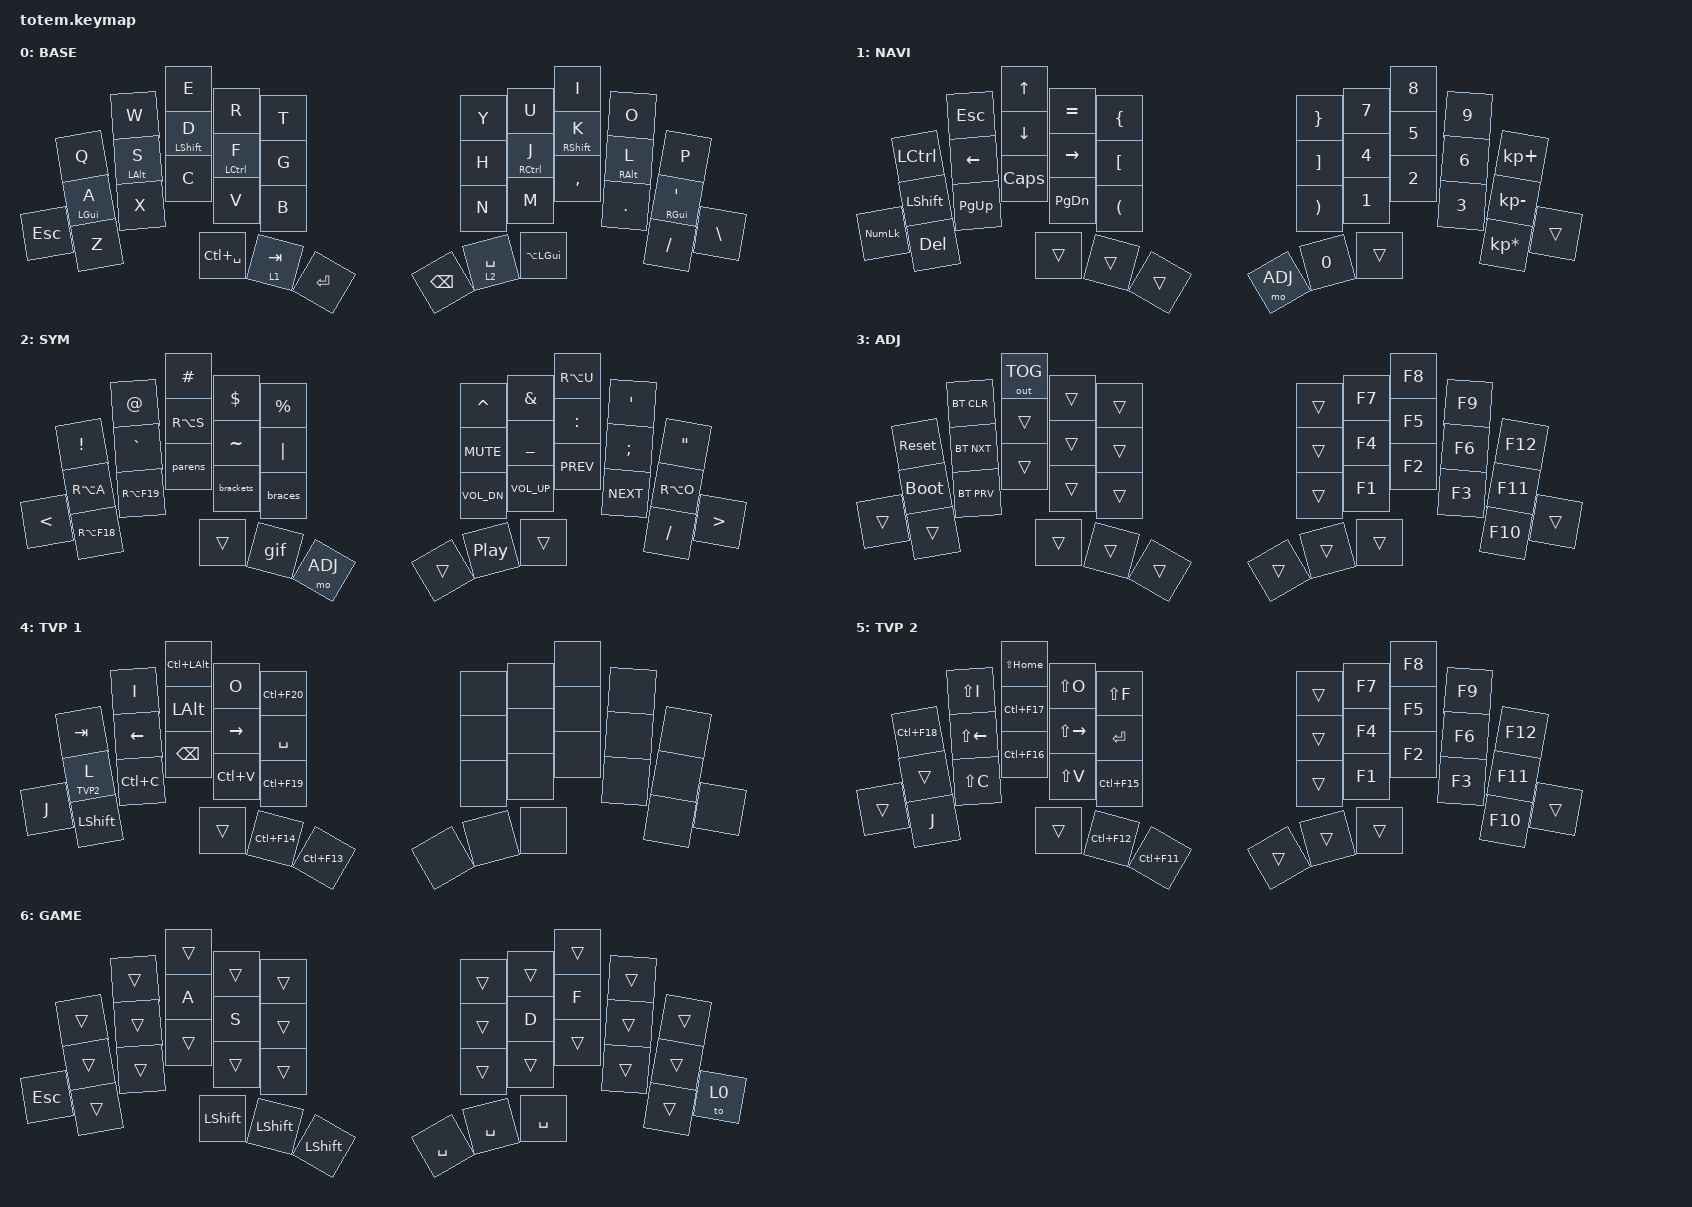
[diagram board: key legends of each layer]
//
//                                                        ▀▀▀▀▀     ▀▀▀▀▀          ▀▀█▀▀
//                                                        ▄▀▀▀▄  ▄  ▄▀▀▀▄  ▄  ▄▀▀▀▄  █  ▄▀▀▀▄
//                                                        █   █  █  █   █  █  █   █  █  █   █
//                                                         ▀▀▀   █   ▀▀▀   █   ▀▀▀   ▀   ▀▀▀
//                                                               █      ▄▄▄█▄▄▄    █   █  
//                                                               ▀      █  █  █     █▄█
//                                                             ▀▀▀▀▀    █  █  █      ▀
//                                                                      ▀  ▀  ▀
//
// ▄▄▄▄▄▄▄▄▄▄▄▄▄▄▄▄▄▄▄▄▄▄▄▄▄▄▄▄▄▄▄▄▄▄▄▄▄▄▄▄▄▄▄▄▄▄▄▄▄▄▄▄▄▄▄▄▄▄▄▄▄▄▄▄▄▄▄▄▄▄▄▄▄▄▄▄▄▄▄▄▄▄▄▄▄▄▄▄▄▄▄▄▄▄▄▄▄▄▄▄▄▄▄▄▄▄▄▄▄▄▄▄▄▄▄▄▄▄▄▄▄▄▄▄▄▄▄▄▄▄▄▄▄▄▄▄▄▄▄▄▄▄▄▄▄▄▄▄▄

#include <behaviors.dtsi>
#include <dt-bindings/zmk/bt.h>
#include <dt-bindings/zmk/keys.h>
#include <dt-bindings/zmk/outputs.h>
#include <dt-bindings/zmk/pointing.h>

#define BASE 0
#define NAV  1
#define SYM  2
#define ADJ  3
#define TVP1 4
#define TVP2 5

&mt {
    quick-tap-ms = <100>;
    global-quick-tap;
    flavor = "tap-preferred";
    tapping-term-ms = <170>;
};

/ {
    // Dedicated hold-tap only for D (LEFT_SHIFT): a longer tapping-term than the
    // global &mt (170ms) to cut down accidental shift while typing QWERTY fast.
    // All other home-row mods keep using &mt.
    mt_lsft_slow: mt_lsft_slow {
        compatible = "zmk,behavior-hold-tap";
        #binding-cells = <2>;
        flavor = "tap-preferred";
        tapping-term-ms = <210>;
        quick-tap-ms = <100>;
        global-quick-tap;
        bindings = <&kp>, <&kp>;
    };

    combos {
        compatible = "zmk,combos";

        game {
            bindings = <&to 6>;
            key-positions = <21 22 23>;
        };

        // 'left_mouse' combo (D+F = LCLK) removed: no pointer device to move
        // the cursor, and it sat on HRM keys (D=Shift, F=Ctrl) risking dropped
        // modifiers (zmkfirmware/zmk#3208).

        // Esc combo (right hand, O+P) — backup for the physical Esc key on the
        // lower-left. Handy when the right hand is on the mouse/arrows;
        // neovim's highest-frequency key. Global; if it ever misfires on other
        // layers, restrict with `layers = <BASE>;`.
        esc {
            bindings = <&kp ESC>;
            key-positions = <8 9>;
        };

        // Bracket-pair macros (parens/brackets/braces) live on the SYM layer
        // (key-positions 23/24/25) as single keys — easier than combos.
    };

    macros {
        gif: gif {
            label = "giphy";
            compatible = "zmk,behavior-macro";
            #binding-cells = <0>;
            bindings =
                <&macro_press>,
                <&kp LSHFT>,
                <&macro_tap>,
                <&kp N2>,
                <&macro_release>,
                <&kp LSHFT>,
                <&macro_tap>,
                <&kp G &kp I &kp F>;
        };

        // Bracket-pair macros: emit a matched pair with the cursor between
        // (open, close, Left). Bound to combos below.
        parens: parens {
            label = "parens";
            compatible = "zmk,behavior-macro";
            #binding-cells = <0>;
            bindings = <&kp LPAR>, <&kp RPAR>, <&kp LEFT>;
        };
        brackets: brackets {
            label = "brackets";
            compatible = "zmk,behavior-macro";
            #binding-cells = <0>;
            bindings = <&kp LBKT>, <&kp RBKT>, <&kp LEFT>;
        };
        braces: braces {
            label = "braces";
            compatible = "zmk,behavior-macro";
            #binding-cells = <0>;
            bindings = <&kp LBRC>, <&kp RBRC>, <&kp LEFT>;
        };
    };

    keymap {
        compatible = "zmk,keymap";

        // ▄▄▄▄▄▄▄▄▄▄▄▄▄▄▄▄▄▄▄▄▄▄▄▄▄▄▄▄▄▄▄▄▄▄▄▄▄▄▄▄▄▄▄▄▄▄▄▄▄▄▄▄▄▄▄▄▄▄▄▄▄▄▄▄▄▄▄▄▄▄▄▄▄▄▄▄▄▄▄▄▄▄▄▄▄▄▄▄▄▄▄▄▄▄▄▄▄▄▄▄▄▄▄▄▄▄▄▄▄▄▄▄▄▄▄▄▄▄▄▄▄▄▄▄▄▄▄▄▄▄▄▄▄▄▄▄▄▄▄▄▄▄▄▄▄▄▄▄▄

        base_layer {
            // ┏━━━━━━━━━━━━━━━━━━━━━━━━━━━━━━━━━━━━━━━┓

            label = "BASE";

            // ┗━━━━━━━━━━━━━━━━━━━━━━━━━━━━━━━━━━━━━━━┛
            //             ┏━━━━━━━━━━━┳━━━━━━━━━━━┳━━━━━━━━━━━┳━━━━━━━━━━━┳━━━━━━━━━━━┓   ┏━━━━━━━━━━━┳━━━━━━━━━━━┳━━━━━━━━━━━┳━━━━━━━━━━━┳━━━━━━━━━━━┓
            //             ┃     Q     ┃     W     ┃     E     ┃     R     ┃     T     ┃   ┃     Y     ┃     U     ┃     I     ┃     O     ┃     P     ┃
            //             ┣━━━━━━━━━━━╋━━━━━━━━━━━╋━━━━━━━━━━━╋━━━━━━━━━━━╋━━━━━━━━━━━┫   ┣━━━━━━━━━━━╋━━━━━━━━━━━╋━━━━━━━━━━━╋━━━━━━━━━━━╋━━━━━━━━━━━┫
            //             ┃     A     ┃     S     ┃     D     ┃     F     ┃     G     ┃   ┃     H     ┃     J     ┃     K     ┃     L     ┃     ;     ┃
            // ┏━━━━━━━━━━━╋━━━━━━━━━━━╋━━━━━━━━━━━╋━━━━━━━━━━━╋━━━━━━━━━━━╋━━━━━━━━━━━┫   ┣━━━━━━━━━━━╋━━━━━━━━━━━╋━━━━━━━━━━━╋━━━━━━━━━━━╋━━━━━━━━━━━╋━━━━━━━━━━━┓
            // ┃    ESC    ┃     Z     ┃     X     ┃     C     ┃     V     ┃     B     ┃   ┃     N     ┃     M     ┃     ,     ┃     .     ┃     /     ┃     \     ┃
            // ┗━━━━━━━━━━━┻━━━━━━━━━━━┻━━━━━━━━━━━╋━━━━━━━━━━━╋━━━━━━━━━━━╋━━━━━━━━━━━┫   ┣━━━━━━━━━━━╋━━━━━━━━━━━╋━━━━━━━━━━━╋━━━━━━━━━━━┻━━━━━━━━━━━┻━━━━━━━━━━━┛
            //                                     ┃  LC(SPC)  ┃  NAV/TAB  ┃   ENTER   ┃   ┃   BSPC    ┃  SYM/SPC  ┃  LA(GUI)  ┃
            //                                     ┗━━━━━━━━━━━┻━━━━━━━━━━━┻━━━━━━━━━━━┛   ┗━━━━━━━━━━━┻━━━━━━━━━━━┻━━━━━━━━━━━┛

            bindings = <
         &kp Q           &kp W       &kp E             &kp R        &kp T        &kp Y          &kp U        &kp I              &kp O       &kp P
         &mt LEFT_GUI A  &mt LALT S  &mt_lsft_slow LEFT_SHIFT D  &mt LCTRL F  &kp G        &kp H          &mt RCTRL J  &mt RIGHT_SHIFT K  &mt RALT L  &mt RIGHT_GUI SQT
&kp ESC  &kp Z           &kp X       &kp C             &kp V        &kp B        &kp N          &kp M        &kp COMMA          &kp DOT     &kp FSLH          &kp BSLH
                                     &kp LC(SPACE)     &lt 1 TAB    &kp ENTER    &kp BACKSPACE  &lt 2 SPACE  &kp LA(LEFT_GUI)
            >;
        };

        // ▄▄▄▄▄▄▄▄▄▄▄▄▄▄▄▄▄▄▄▄▄▄▄▄▄▄▄▄▄▄▄▄▄▄▄▄▄▄▄▄▄▄▄▄▄▄▄▄▄▄▄▄▄▄▄▄▄▄▄▄▄▄▄▄▄▄▄▄▄▄▄▄▄▄▄▄▄▄▄▄▄▄▄▄▄▄▄▄▄▄▄▄▄▄▄▄▄▄▄▄▄▄▄▄▄▄▄▄▄▄▄▄▄▄▄▄▄▄▄▄▄▄▄▄▄▄▄▄▄▄▄▄▄▄▄▄▄▄▄▄▄▄▄▄▄▄▄▄▄

        nav_layer {
            // ┏━━━━━━━━━━━━━━━━━━━━━━━━━━━━━━━━━━━━━━━┓

            label = "NAVI";

            // ┗━━━━━━━━━━━━━━━━━━━━━━━━━━━━━━━━━━━━━━━┛
            //             ┏━━━━━━━━━━━┳━━━━━━━━━━━┳━━━━━━━━━━━┳━━━━━━━━━━━┳━━━━━━━━━━━┓   ┏━━━━━━━━━━━┳━━━━━━━━━━━┳━━━━━━━━━━━┳━━━━━━━━━━━┳━━━━━━━━━━━┓
            //             ┃   CTRL    ┃    ESC    ┃    UP     ┃     =     ┃     {     ┃   ┃     }     ┃     7     ┃     8     ┃     9     ┃     +     ┃
            //             ┣━━━━━━━━━━━╋━━━━━━━━━━━╋━━━━━━━━━━━╋━━━━━━━━━━━╋━━━━━━━━━━━┫   ┣━━━━━━━━━━━╋━━━━━━━━━━━╋━━━━━━━━━━━╋━━━━━━━━━━━╋━━━━━━━━━━━┫
            //             ┃   SHIFT   ┃   LEFT    ┃   DOWN    ┃   RIGHT   ┃     [     ┃   ┃     ]     ┃     4     ┃     5     ┃     6     ┃     -     ┃
            // ┏━━━━━━━━━━━╋━━━━━━━━━━━╋━━━━━━━━━━━╋━━━━━━━━━━━╋━━━━━━━━━━━╋━━━━━━━━━━━┫   ┣━━━━━━━━━━━╋━━━━━━━━━━━╋━━━━━━━━━━━╋━━━━━━━━━━━╋━━━━━━━━━━━╋━━━━━━━━━━━┓
            // ┃    NUM    ┃    DEL    ┃   PGUP    ┃   CAPS    ┃   PGDN    ┃     (     ┃   ┃     )     ┃     1     ┃     2     ┃     3     ┃     *     ┃           ┃
            // ┗━━━━━━━━━━━┻━━━━━━━━━━━┻━━━━━━━━━━━╋━━━━━━━━━━━╋━━━━━━━━━━━╋━━━━━━━━━━━┫   ┣━━━━━━━━━━━╋━━━━━━━━━━━╋━━━━━━━━━━━╋━━━━━━━━━━━┻━━━━━━━━━━━┻━━━━━━━━━━━┛
            //                                     ┃           ┃           ┃           ┃   ┃    ADJ    ┃     0     ┃           ┃
            //                                     ┗━━━━━━━━━━━┻━━━━━━━━━━━┻━━━━━━━━━━━┛   ┗━━━━━━━━━━━┻━━━━━━━━━━━┻━━━━━━━━━━━┛

            bindings = <
            &kp LCTRL  &kp ESC    &kp UP    &kp EQUAL  &kp LBRC    &kp RBRC  &kp NUMBER_7  &kp NUMBER_8  &kp NUMBER_9  &kp KP_PLUS
            &kp LSHFT  &kp LEFT   &kp DOWN  &kp RIGHT  &kp LBKT    &kp RBKT  &kp NUMBER_4  &kp NUMBER_5  &kp NUMBER_6  &kp KP_MINUS
&kp KP_NUM  &kp DEL    &kp PG_UP  &kp CAPS  &kp PG_DN  &kp LPAR    &kp RPAR  &kp NUMBER_1  &kp NUMBER_2  &kp NUMBER_3  &kp KP_MULTIPLY  &trans
                                  &trans    &trans     &trans      &mo ADJ   &kp NUMBER_0  &trans
            >;
        };

        // ▄▄▄▄▄▄▄▄▄▄▄▄▄▄▄▄▄▄▄▄▄▄▄▄▄▄▄▄▄▄▄▄▄▄▄▄▄▄▄▄▄▄▄▄▄▄▄▄▄▄▄▄▄▄▄▄▄▄▄▄▄▄▄▄▄▄▄▄▄▄▄▄▄▄▄▄▄▄▄▄▄▄▄▄▄▄▄▄▄▄▄▄▄▄▄▄▄▄▄▄▄▄▄▄▄▄▄▄▄▄▄▄▄▄▄▄▄▄▄▄▄▄▄▄▄▄▄▄▄▄▄▄▄▄▄▄▄▄▄▄▄▄▄▄▄▄▄▄▄

        sim_layer {
            // ┏━━━━━━━━━━━━━━━━━━━━━━━━━━━━━━━━━━━━━━━┓

            label = "SYM";

            // ┗━━━━━━━━━━━━━━━━━━━━━━━━━━━━━━━━━━━━━━━┛
            //             ┏━━━━━━━━━━━┳━━━━━━━━━━━┳━━━━━━━━━━━┳━━━━━━━━━━━┳━━━━━━━━━━━┓   ┏━━━━━━━━━━━┳━━━━━━━━━━━┳━━━━━━━━━━━┳━━━━━━━━━━━┳━━━━━━━━━━━┓
            //             ┃     !     ┃     @     ┃     #     ┃     $     ┃     %     ┃   ┃     ^     ┃     &     ┃     Ü     ┃     '     ┃     "     ┃
            //             ┣━━━━━━━━━━━╋━━━━━━━━━━━╋━━━━━━━━━━━╋━━━━━━━━━━━╋━━━━━━━━━━━┫   ┣━━━━━━━━━━━╋━━━━━━━━━━━╋━━━━━━━━━━━╋━━━━━━━━━━━╋━━━━━━━━━━━┫
            //             ┃     Ä     ┃     `     ┃     ß     ┃     ~     ┃     |     ┃   ┃   MUTE    ┃     _     ┃     :     ┃     ;     ┃     Ö     ┃
            // ┏━━━━━━━━━━━╋━━━━━━━━━━━╋━━━━━━━━━━━╋━━━━━━━━━━━╋━━━━━━━━━━━╋━━━━━━━━━━━┫   ┣━━━━━━━━━━━╋━━━━━━━━━━━╋━━━━━━━━━━━╋━━━━━━━━━━━╋━━━━━━━━━━━╋━━━━━━━━━━━┓
            // ┃     <     ┃    F18    ┃    F19    ┃    ()     ┃    []     ┃    {}     ┃   ┃   VOL-    ┃   VOL+    ┃   PREV    ┃   NEXT    ┃     \     ┃     >     ┃
            // ┗━━━━━━━━━━━┻━━━━━━━━━━━┻━━━━━━━━━━━╋━━━━━━━━━━━╋━━━━━━━━━━━╋━━━━━━━━━━━┫   ┣━━━━━━━━━━━╋━━━━━━━━━━━╋━━━━━━━━━━━╋━━━━━━━━━━━┻━━━━━━━━━━━┻━━━━━━━━━━━┛
            //                                     ┃           ┃    GIF    ┃    ADJ    ┃   ┃           ┃    PP     ┃           ┃
            //                                     ┗━━━━━━━━━━━┻━━━━━━━━━━━┻━━━━━━━━━━━┛   ┗━━━━━━━━━━━┻━━━━━━━━━━━┻━━━━━━━━━━━┛

            bindings = <
        &kp EXCL     &kp AT       &kp HASH   &kp DLLR  &kp PRCNT    &kp CARET     &kp AMPS        &kp RA(U)   &kp SQT     &kp DQT
        &kp RA(A)         &kp GRAVE         &kp RA(S)         &kp TILDE         &kp PIPE          &kp C_MUTE        &kp UNDERSCORE    &kp COLON         &kp SEMI          &kp RA(O)
&kp LESS_THAN     &kp RA(F18)       &kp RA(F19)       &parens           &brackets         &braces           &kp C_VOL_DN      &kp C_VOL_UP      &kp C_PREV        &kp C_NEXT        &kp SLASH         &kp GREATER_THAN
                                  &trans     &gif      &mo ADJ      &trans        &kp C_PP        &trans
            >;
        };

        // ▄▄▄▄▄▄▄▄▄▄▄▄▄▄▄▄▄▄▄▄▄▄▄▄▄▄▄▄▄▄▄▄▄▄▄▄▄▄▄▄▄▄▄▄▄▄▄▄▄▄▄▄▄▄▄▄▄▄▄▄▄▄▄▄▄▄▄▄▄▄▄▄▄▄▄▄▄▄▄▄▄▄▄▄▄▄▄▄▄▄▄▄▄▄▄▄▄▄▄▄▄▄▄▄▄▄▄▄▄▄▄▄▄▄▄▄▄▄▄▄▄▄▄▄▄▄▄▄▄▄▄▄▄▄▄▄▄▄▄▄▄▄▄▄▄▄▄▄▄

        adjust_layer {
            // ┏━━━━━━━━━━━━━━━━━━━━━━━━━━━━━━━━━━━━━━━┓

            label = "ADJ";

            // ┗━━━━━━━━━━━━━━━━━━━━━━━━━━━━━━━━━━━━━━━┛
            //             ┏━━━━━━━━━━━┳━━━━━━━━━━━┳━━━━━━━━━━━┳━━━━━━━━━━━┳━━━━━━━━━━━┓   ┏━━━━━━━━━━━┳━━━━━━━━━━━┳━━━━━━━━━━━┳━━━━━━━━━━━┳━━━━━━━━━━━┓
            //             ┃   RESET   ┃ BT CLEAR  ┃  OUT TOG  ┃           ┃           ┃   ┃           ┃    F7     ┃    F8     ┃    F9     ┃    F12    ┃
            //             ┣━━━━━━━━━━━╋━━━━━━━━━━━╋━━━━━━━━━━━╋━━━━━━━━━━━╋━━━━━━━━━━━┫   ┣━━━━━━━━━━━╋━━━━━━━━━━━╋━━━━━━━━━━━╋━━━━━━━━━━━╋━━━━━━━━━━━┫
            //             ┃ BOOTLOAD  ┃ BT NEXT   ┃           ┃           ┃           ┃   ┃           ┃    F4     ┃    F5     ┃    F6     ┃    F11    ┃
            // ┏━━━━━━━━━━━╋━━━━━━━━━━━╋━━━━━━━━━━━╋━━━━━━━━━━━╋━━━━━━━━━━━╋━━━━━━━━━━━┫   ┣━━━━━━━━━━━╋━━━━━━━━━━━╋━━━━━━━━━━━╋━━━━━━━━━━━╋━━━━━━━━━━━╋━━━━━━━━━━━┓
            // ┃           ┃           ┃ BT PREV   ┃           ┃           ┃           ┃   ┃           ┃    F1     ┃    F2     ┃    F3     ┃    F10    ┃           ┃
            // ┗━━━━━━━━━━━┻━━━━━━━━━━━┻━━━━━━━━━━━╋━━━━━━━━━━━╋━━━━━━━━━━━╋━━━━━━━━━━━┫   ┣━━━━━━━━━━━╋━━━━━━━━━━━╋━━━━━━━━━━━╋━━━━━━━━━━━┻━━━━━━━━━━━┻━━━━━━━━━━━┛
            //                                     ┃           ┃           ┃           ┃   ┃           ┃           ┃           ┃
            //                                     ┗━━━━━━━━━━━┻━━━━━━━━━━━┻━━━━━━━━━━━┛   ┗━━━━━━━━━━━┻━━━━━━━━━━━┻━━━━━━━━━━━┛

            bindings = <
        &sys_reset   &bt BT_CLR  &out OUT_TOG  &trans  &trans    &trans  &kp F7  &kp F8  &kp F9  &kp F12
        &bootloader  &bt BT_NXT  &trans        &trans  &trans    &trans  &kp F4  &kp F5  &kp F6  &kp F11
&trans  &trans       &bt BT_PRV  &trans        &trans  &trans    &trans  &kp F1  &kp F2  &kp F3  &kp F10  &trans
                                 &trans        &trans  &trans    &trans  &trans  &trans
            >;
        };

        // ▄▄▄▄▄▄▄▄▄▄▄▄▄▄▄▄▄▄▄▄▄▄▄▄▄▄▄▄▄▄▄▄▄▄▄▄▄▄▄▄▄▄▄▄▄▄▄▄▄▄▄▄▄▄▄▄▄▄▄▄▄▄▄▄▄▄▄▄▄▄▄▄▄▄▄▄▄▄▄▄▄▄▄▄▄▄▄▄▄▄▄▄▄▄▄▄▄▄▄▄▄▄▄▄▄▄▄▄▄▄▄▄▄▄▄▄▄▄▄▄▄▄▄▄▄▄▄▄▄▄▄▄▄▄▄▄▄▄▄▄▄▄▄▄▄▄▄▄▄

        tvp1_layer {
            // ┏━━━━━━━━━━━━━━━━━━━━━━━━━━━━━━━━━━━━━━━┓

            label = "TVP 1";

            // ┗━━━━━━━━━━━━━━━━━━━━━━━━━━━━━━━━━━━━━━━┛
            //             ┏━━━━━━━━━━━┳━━━━━━━━━━━┳━━━━━━━━━━━┳━━━━━━━━━━━┳━━━━━━━━━━━┓   ┏━━━━━━━━━━━┳━━━━━━━━━━━┳━━━━━━━━━━━┳━━━━━━━━━━━┳━━━━━━━━━━━┓
            //             ┃ NEXT FILE ┃ MARK IN   ┃ ROTATE    ┃ MARK OUT  ┃ SHOW SNAP ┃   ┃           ┃           ┃           ┃           ┃           ┃
            //             ┣━━━━━━━━━━━╋━━━━━━━━━━━╋━━━━━━━━━━━╋━━━━━━━━━━━╋━━━━━━━━━━━┫   ┣━━━━━━━━━━━╋━━━━━━━━━━━╋━━━━━━━━━━━╋━━━━━━━━━━━╋━━━━━━━━━━━┫
            //             ┃ TVP II    ┃ LEFT      ┃ PAN       ┃ RIGHT     ┃ PLAY/FLIP ┃   ┃           ┃           ┃           ┃           ┃           ┃
            // ┏━━━━━━━━━━━╋━━━━━━━━━━━╋━━━━━━━━━━━╋━━━━━━━━━━━╋━━━━━━━━━━━╋━━━━━━━━━━━┫   ┣━━━━━━━━━━━╋━━━━━━━━━━━╋━━━━━━━━━━━╋━━━━━━━━━━━╋━━━━━━━━━━━╋━━━━━━━━━━━┓
            // ┃ FULLSCR   ┃ SHIFT     ┃ COPY      ┃ DELETE    ┃ PASTE     ┃ IMG MARK  ┃   ┃           ┃           ┃           ┃           ┃           ┃           ┃
            // ┗━━━━━━━━━━━┻━━━━━━━━━━━┻━━━━━━━━━━━╋━━━━━━━━━━━╋━━━━━━━━━━━╋━━━━━━━━━━━┫   ┣━━━━━━━━━━━╋━━━━━━━━━━━╋━━━━━━━━━━━╋━━━━━━━━━━━┻━━━━━━━━━━━┻━━━━━━━━━━━┛
            //                                     ┃           ┃ UNDO/SAVE ┃  SEL/MOV  ┃   ┃           ┃           ┃           ┃
            //                                     ┗━━━━━━━━━━━┻━━━━━━━━━━━┻━━━━━━━━━━━┛   ┗━━━━━━━━━━━┻━━━━━━━━━━━┻━━━━━━━━━━━┛

            bindings = <
       &kp TAB     &kp I      &kp LC(LALT)  &kp O        &kp LC(F20)    &none  &none  &none  &none  &none
       &lt TVP2 L  &kp LEFT   &kp LALT      &kp RIGHT    &kp SPACE      &none  &none  &none  &none  &none
&kp J  &kp LSHFT   &kp LC(C)  &kp BSPC      &kp LC(V)    &kp LC(F19)    &none  &none  &none  &none  &none  &none
                              &trans        &kp LC(F14)  &kp LC(F13)    &none  &none  &none
            >;
        };

        // ▄▄▄▄▄▄▄▄▄▄▄▄▄▄▄▄▄▄▄▄▄▄▄▄▄▄▄▄▄▄▄▄▄▄▄▄▄▄▄▄▄▄▄▄▄▄▄▄▄▄▄▄▄▄▄▄▄▄▄▄▄▄▄▄▄▄▄▄▄▄▄▄▄▄▄▄▄▄▄▄▄▄▄▄▄▄▄▄▄▄▄▄▄▄▄▄▄▄▄▄▄▄▄▄▄▄▄▄▄▄▄▄▄▄▄▄▄▄▄▄▄▄▄▄▄▄▄▄▄▄▄▄▄▄▄▄▄▄▄▄▄▄▄▄▄▄▄▄▄

        tvp2_layer {
            // ┏━━━━━━━━━━━━━━━━━━━━━━━━━━━━━━━━━━━━━━━┓

            label = "TVP 2";

            // ┗━━━━━━━━━━━━━━━━━━━━━━━━━━━━━━━━━━━━━━━┛
            //             ┏━━━━━━━━━━━┳━━━━━━━━━━━┳━━━━━━━━━━━┳━━━━━━━━━━━┳━━━━━━━━━━━┓   ┏━━━━━━━━━━━┳━━━━━━━━━━━┳━━━━━━━━━━━┳━━━━━━━━━━━┳━━━━━━━━━━━┓
            //             ┃ SOLO      ┃ TOGGLE IN ┃ RESET ROT ┃ TOGGLE OUT┃ TAKE SNAP ┃   ┃           ┃           ┃           ┃           ┃           ┃
            //             ┣━━━━━━━━━━━╋━━━━━━━━━━━╋━━━━━━━━━━━╋━━━━━━━━━━━╋━━━━━━━━━━━┫   ┣━━━━━━━━━━━╋━━━━━━━━━━━╋━━━━━━━━━━━╋━━━━━━━━━━━╋━━━━━━━━━━━┫
            //             ┃ ---       ┃ LAST KEY  ┃ NEW KEY   ┃ NEXT KEY  ┃ ENTER     ┃   ┃           ┃           ┃           ┃           ┃           ┃
            // ┏━━━━━━━━━━━╋━━━━━━━━━━━╋━━━━━━━━━━━╋━━━━━━━━━━━╋━━━━━━━━━━━╋━━━━━━━━━━━┫   ┣━━━━━━━━━━━╋━━━━━━━━━━━╋━━━━━━━━━━━╋━━━━━━━━━━━╋━━━━━━━━━━━╋━━━━━━━━━━━┓
            // ┃           ┃ FULLSCR   ┃ CPY2BRUSH ┃ DEL HEAD  ┃ PSTinPLACE┃ BOOK MARK ┃   ┃           ┃           ┃           ┃           ┃           ┃           ┃
            // ┗━━━━━━━━━━━┻━━━━━━━━━━━┻━━━━━━━━━━━╋━━━━━━━━━━━╋━━━━━━━━━━━╋━━━━━━━━━━━┫   ┣━━━━━━━━━━━╋━━━━━━━━━━━╋━━━━━━━━━━━╋━━━━━━━━━━━┻━━━━━━━━━━━┻━━━━━━━━━━━┛
            //                                     ┃           ┃ REDO/SAV1 ┃TRANS/WARP ┃   ┃           ┃           ┃           ┃
            //                                     ┗━━━━━━━━━━━┻━━━━━━━━━━━┻━━━━━━━━━━━┛   ┗━━━━━━━━━━━┻━━━━━━━━━━━┻━━━━━━━━━━━┛

            bindings = <
        &kp LC(F18)  &kp LS(I)     &kp LS(HOME)  &kp LS(O)      &kp LS(F)      &trans  &kp F7  &kp F8  &kp F9  &kp F12
        &trans       &kp LS(LEFT)  &kp LC(F17)   &kp LS(RIGHT)  &kp RET        &trans  &kp F4  &kp F5  &kp F6  &kp F11
&trans  &kp J        &kp LS(C)     &kp LC(F16)   &kp LS(V)      &kp LC(F15)    &trans  &kp F1  &kp F2  &kp F3  &kp F10  &trans
                                   &trans        &kp LC(F12)    &kp LC(F11)    &trans  &trans  &trans
            >;
        };

        game_layer {

            label = "GAME";

            bindings = <
         &trans  &trans  &trans          &trans          &trans            &trans     &trans     &trans     &trans  &trans
         &trans  &trans  &kp A           &kp S           &trans            &trans     &kp D      &kp F      &trans  &trans
&kp ESC  &trans  &trans  &trans          &trans          &trans            &trans     &trans     &trans     &trans  &trans  &to 0
                         &kp LEFT_SHIFT  &kp LEFT_SHIFT  &kp LEFT_SHIFT    &kp SPACE  &kp SPACE  &kp SPACE
            >;
        };
    };
};
